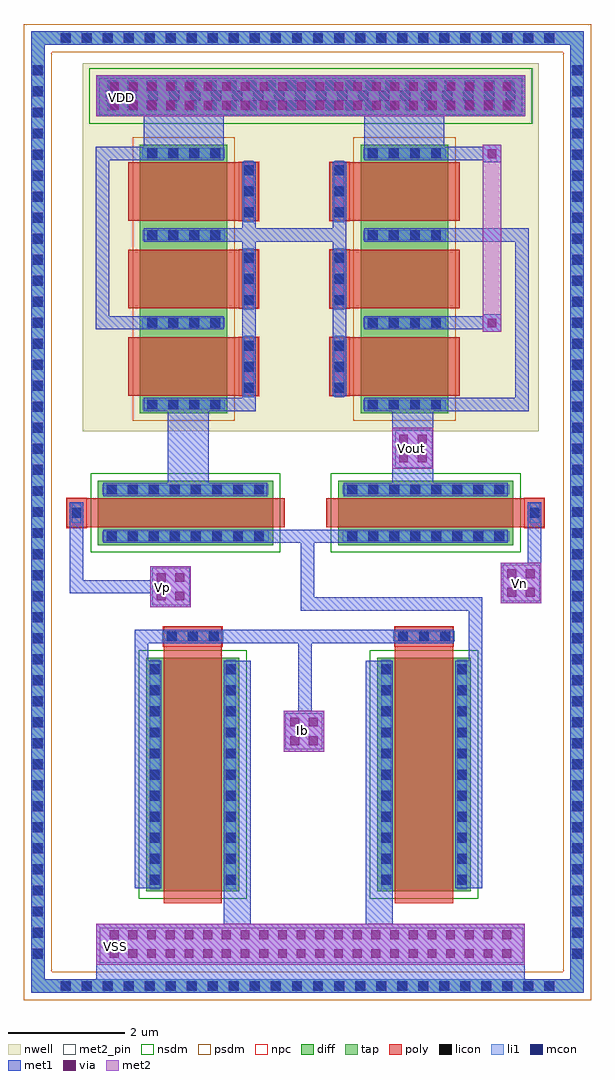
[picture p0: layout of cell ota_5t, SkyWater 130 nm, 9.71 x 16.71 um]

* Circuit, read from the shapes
.subckt ota_5t Ib VDD VSS Vn Vout Vp
XM1 n1 Vp n2 VSS sky130_fd_pr__nfet_01v8 w=3 l=0.5
XM2 VSS Ib Ib VSS sky130_fd_pr__nfet_01v8 w=4 l=1
XM3 Vout Vn n2 VSS sky130_fd_pr__nfet_01v8 w=3 l=0.5
XM4 n2 Ib VSS VSS sky130_fd_pr__nfet_01v8 w=4 l=1
XM5 VDD n1 n1 n3 sky130_fd_pr__pfet_01v8 w=1.5 l=1 m=3
XM6 VDD n1 Vout n3 sky130_fd_pr__pfet_01v8 w=1.5 l=1 m=3
.ends

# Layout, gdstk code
from math import pi, radians
import gdstk
lib = gdstk.Library(unit=1e-6, precision=1e-09)
def R(c, l, rs):  # rectangles x0, y0, x1, y1
    for r in rs: c.add(gdstk.rectangle(r[:2], r[2:], *l))
def A(c, l, x, y, w, h, nx, ny, dx, dy):  # array of equal rectangles
    R(c, l, [(x+i*dx, y+j*dy, x+i*dx+w, y+j*dy+h) for i in range(nx) for j in range(ny)])
def P(c, l, *ps):  # polygons
    for p in ps: c.add(gdstk.Polygon(p, *l))
nwell = (64, 20)
diff = (65, 20)
tap = (65, 44)
poly = (66, 20)
licon = (66, 44)
li1 = (67, 20)
mcon = (67, 44)
met1 = (68, 20)
via = (68, 44)
met2_pin = (69, 16)
met2 = (69, 20)
nsdm = (93, 44)
psdm = (94, 20)
npc = (95, 20)

nfet_2 = lib.new_cell('nfet$2')
R(nfet_2, diff, [(0,0,1.6,4)])
R(nfet_2, poly, [(0.3,-0.2,1.3,4.2), (0.3,4.2,1.3,4.53)])
A(nfet_2, licon, 0.065, 0.115, 0.17, 0.17, 1, 11, 0, 0.36)
A(nfet_2, licon, 1.365, 0.115, 0.17, 0.17, 1, 11, 0, 0.36)
A(nfet_2, licon, 0.355, 4.28, 0.17, 0.17, 3, 1, 0.36, 0)
R(nfet_2, li1, [(0.065,0.035,0.235,3.965), (1.365,0.035,1.535,3.965), (0.275,4.28,1.325,4.45)])
A(nfet_2, mcon, 0.065, 0.115, 0.17, 0.17, 1, 11, 0, 0.36)
A(nfet_2, mcon, 1.365, 0.115, 0.17, 0.17, 1, 11, 0, 0.36)
A(nfet_2, mcon, 0.355, 4.28, 0.17, 0.17, 3, 1, 0.36, 0)
R(nfet_2, met1, [(0.035,0.055,0.265,3.945), (1.335,0.055,1.565,3.945), (0.295,4.25,1.305,4.48)])
R(nfet_2, nsdm, [(-0.125,-0.125,1.725,4.125)])
R(nfet_2, npc, [(0.29,4.19,1.31,4.54)])

pfet_2 = lib.new_cell('pfet$2')
R(pfet_2, nwell, [(-0.305,-0.72,4.905,1.88)])
R(pfet_2, diff, [(0,0,4.6,1.5)])
A(pfet_2, poly, 0.3, -0.53, 1, 0.33, 3, 1, 1.5, 0)
A(pfet_2, poly, 0.3, -0.2, 1, 1.9, 3, 1, 1.5, 0)
A(pfet_2, licon, 0.355, -0.45, 0.17, 0.17, 3, 1, 0.36, 0)
A(pfet_2, licon, 1.855, -0.45, 0.17, 0.17, 3, 1, 0.36, 0)
A(pfet_2, licon, 3.355, -0.45, 0.17, 0.17, 3, 1, 0.36, 0)
A(pfet_2, licon, 0.065, 0.125, 0.17, 0.17, 1, 4, 0, 0.36)
A(pfet_2, licon, 1.465, 0.125, 0.17, 0.17, 1, 4, 0, 0.36)
A(pfet_2, licon, 2.965, 0.125, 0.17, 0.17, 1, 4, 0, 0.36)
A(pfet_2, licon, 4.365, 0.125, 0.17, 0.17, 1, 4, 0, 0.36)
A(pfet_2, li1, 0.275, -0.45, 1.05, 0.17, 3, 1, 1.5, 0)
R(pfet_2, li1, [(0.065,0.045,0.235,1.455), (1.465,0.045,1.635,1.455), (2.965,0.045,3.135,1.455), (4.365,0.045,4.535,1.455)])
A(pfet_2, mcon, 0.355, -0.45, 0.17, 0.17, 3, 1, 0.36, 0)
A(pfet_2, mcon, 1.855, -0.45, 0.17, 0.17, 3, 1, 0.36, 0)
A(pfet_2, mcon, 3.355, -0.45, 0.17, 0.17, 3, 1, 0.36, 0)
A(pfet_2, mcon, 0.065, 0.125, 0.17, 0.17, 1, 4, 0, 0.36)
A(pfet_2, mcon, 1.465, 0.125, 0.17, 0.17, 1, 4, 0, 0.36)
A(pfet_2, mcon, 2.965, 0.125, 0.17, 0.17, 1, 4, 0, 0.36)
A(pfet_2, mcon, 4.365, 0.125, 0.17, 0.17, 1, 4, 0, 0.36)
A(pfet_2, met1, 0.295, -0.48, 1.01, 0.23, 3, 1, 1.5, 0)
R(pfet_2, met1, [(0.035,0.065,0.265,1.435), (1.435,0.065,1.665,1.435), (2.935,0.065,3.165,1.435), (4.335,0.065,4.565,1.435)])
R(pfet_2, psdm, [(-0.125,-0.125,4.725,1.625)])
A(pfet_2, npc, 0.29, -0.54, 1.02, 0.35, 3, 1, 1.5, 0)

vias_gen = lib.new_cell('vias_gen')
R(vias_gen, met1, [(0,0,0.32,0.3)])
R(vias_gen, via, [(0.085,0.075,0.235,0.225)])
R(vias_gen, met2, [(0,0,0.32,0.3)])

vias_gen_7 = lib.new_cell('vias_gen$7')
R(vias_gen_7, diff, [(0,0,7.34,0.7)])
A(vias_gen_7, licon, 0.185, 0.095, 0.17, 0.17, 21, 2, 0.34, 0.34)
R(vias_gen_7, li1, [(0,0,7.34,0.7)])
A(vias_gen_7, mcon, 0.165, 0.265, 0.17, 0.17, 20, 1, 0.36, 0)
R(vias_gen_7, met1, [(0,0,7.34,0.7)])
A(vias_gen_7, via, 0.235, 0.115, 0.15, 0.15, 22, 2, 0.32, 0.32)
R(vias_gen_7, met2, [(0,0,7.34,0.7)])
R(vias_gen_7, nsdm, [(-0.125,-0.125,7.465,0.825)])

vias_gen_4 = lib.new_cell('vias_gen$4')
R(vias_gen_4, met1, [(0,0,0.7,0.7)])
R(vias_gen_4, via, [(0.115,0.115,0.265,0.265), (0.435,0.115,0.585,0.265), (0.115,0.435,0.265,0.585), (0.435,0.435,0.585,0.585)])
R(vias_gen_4, met2, [(0,0,0.7,0.7)])

vias_gen_8 = lib.new_cell('vias_gen$8')
R(vias_gen_8, met1, [(0,0,7.34,0.7)])
A(vias_gen_8, via, 0.235, 0.115, 0.15, 0.15, 22, 2, 0.32, 0.32)
R(vias_gen_8, met2, [(0,0,7.34,0.7)])

nfet = lib.new_cell('nfet')
R(nfet, diff, [(0,0,1.1,3)])
R(nfet, poly, [(0.3,-0.2,0.8,3.2), (0.3,3.2,0.8,3.53)])
A(nfet, licon, 0.065, 0.155, 0.17, 0.17, 1, 8, 0, 0.36)
A(nfet, licon, 0.865, 0.155, 0.17, 0.17, 1, 8, 0, 0.36)
R(nfet, licon, [(0.465,3.28,0.635,3.45)])
R(nfet, li1, [(0.065,0.075,0.235,2.925), (0.865,0.075,1.035,2.925), (0.385,3.28,0.715,3.45)])
A(nfet, mcon, 0.065, 0.155, 0.17, 0.17, 1, 8, 0, 0.36)
A(nfet, mcon, 0.865, 0.155, 0.17, 0.17, 1, 8, 0, 0.36)
R(nfet, mcon, [(0.465,3.28,0.635,3.45)])
R(nfet, met1, [(0.035,0.095,0.265,2.905), (0.835,0.095,1.065,2.905), (0.365,3.25,0.735,3.48)])
R(nfet, nsdm, [(-0.125,-0.125,1.225,3.125)])
R(nfet, npc, [(0.29,3.19,0.81,3.54)])

guard_ring_gen_1 = lib.new_cell('guard_ring_gen$1')
P(guard_ring_gen_1, tap, [(-0.23,-0.23),(-0.23,16),(0,16),(0,0),(9,0),(9,16),(-0.23,16),(-0.23,16.23),(9.23,16.23),(9.23,-0.23)])
A(guard_ring_gen_1, licon, 0.275, -0.2, 0.17, 0.17, 24, 2, 0.36, 16.23)
A(guard_ring_gen_1, licon, -0.2, 0.355, 0.17, 0.17, 1, 43, 0, 0.36)
A(guard_ring_gen_1, licon, 9.03, 0.355, 0.17, 0.17, 1, 43, 0, 0.36)
P(guard_ring_gen_1, li1, [(-0.23,-0.23),(-0.23,16),(0,16),(0,0),(9,0),(9,16),(-0.23,16),(-0.23,16.23),(9.23,16.23),(9.23,-0.23)])
A(guard_ring_gen_1, mcon, 0.275, -0.2, 0.17, 0.17, 24, 2, 0.36, 16.23)
A(guard_ring_gen_1, mcon, -0.2, 0.355, 0.17, 0.17, 1, 43, 0, 0.36)
A(guard_ring_gen_1, mcon, 9.03, 0.355, 0.17, 0.17, 1, 43, 0, 0.36)
P(guard_ring_gen_1, met1, [(-0.23,-0.23),(-0.23,16),(0,16),(0,0),(9,0),(9,16),(-0.23,16),(-0.23,16.23),(9.23,16.23),(9.23,-0.23)])
P(guard_ring_gen_1, psdm, [(-0.355,-0.355),(-0.355,15.875),(0.125,15.875),(0.125,0.125),(8.875,0.125),(8.875,15.875),(-0.355,15.875),(-0.355,16.355),(9.355,16.355),(9.355,-0.355)])

ota_5t = lib.new_cell('ota_5t')
R(ota_5t, nwell, [(12.35,13.75,20.15,20.05), (12.455,13.75,20.045,19.965), (12.945,13.75,20.045,19.965), (15.545,13.75,16.385,18.96)])
R(ota_5t, met1, [(12.575,4.365,19.915,4.615), (14.765,5.315,15.225,9.815), (17.195,5.315,17.655,9.815), (19.97,11.5,20.2,12.165), (13.805,12.865,14.505,14.09), (17.65,12.865,18.35,13.105), (17.65,13.805,18.35,14.09), (15.075,15.36,15.305,15.85), (16.625,15.36,16.855,15.85), (18.54,15.49,19.195,15.72), (18.54,18.39,19.195,18.62), (13.39,18.62,14.76,19.79), (17.17,18.62,18.54,19.79)])
P(ota_5t, met1, [(18.725,5.925),(18.725,9.815),(18.955,9.815),(18.955,10.675),(16.08,10.675),(16.08,11.835),(15.51,11.835),(15.51,12.065),(16.815,12.065),(16.815,11.835),(16.31,11.835),(16.31,10.905),(19.185,10.905),(19.185,5.925)],
  [(12.125,10.97),(12.125,12.315),(12.355,12.315),(12.355,11.2),(13.5,11.2),(13.5,10.97)],
  [(13.235,5.925),(13.235,10.35),(18.695,10.35),(18.695,10.12),(16.265,10.12),(16.265,8.78),(16.035,8.78),(16.035,10.12),(13.465,10.12),(13.465,5.925)],
  [(18.54,14.09),(18.54,14.32),(19.75,14.32),(19.75,16.99),(18.54,16.99),(18.54,17.22),(19.98,17.22),(19.98,14.09)],
  [(12.57,15.49),(12.57,18.62),(13.39,18.62),(13.39,18.39),(12.8,18.39),(12.8,15.72),(13.39,15.72),(13.39,15.49)],
  [(14.76,14.09),(14.76,14.32),(15.075,14.32),(15.075,14.35),(15.305,14.35),(15.305,14.09)],
  [(15.075,16.86),(15.075,16.99),(14.76,16.99),(14.76,17.22),(15.075,17.22),(15.075,17.35),(15.305,17.35),(15.305,17.22),(16.625,17.22),(16.625,17.35),(16.855,17.35),(16.855,16.86),(16.625,16.86),(16.625,16.99),(15.305,16.99),(15.305,16.86)])
R(ota_5t, met2_pin, [(12.635,4.65,19.885,5.25), (15.815,8.305,16.45,8.92), (13.535,10.765,14.18,11.41), (19.54,10.835,20.17,11.465), (17.695,13.125,18.335,13.77), (12.63,19.17,19.87,19.79)])
R(ota_5t, met2, [(19.195,15.75,19.515,18.35)])
ota_5t.add(gdstk.Reference(nfet_2, (17.39,5.87)))
ota_5t.add(gdstk.Reference(pfet_2, (17.105,18.655), rotation=3*pi/2))
ota_5t.add(gdstk.Reference(pfet_2, (14.825,14.055), rotation=pi/2))
ota_5t.add(gdstk.Reference(vias_gen, (19.195,15.45)))
ota_5t.add(gdstk.Reference(vias_gen_7, (12.58,19.14)))
ota_5t.add(gdstk.Reference(vias_gen_4, (20.2,10.8), rotation=pi, x_reflection=True))
ota_5t.add(gdstk.Reference(vias_gen_8, (12.575,4.615)))
ota_5t.add(gdstk.Reference(vias_gen_4, (15.785,8.26)))
ota_5t.add(gdstk.Reference(vias_gen_4, (18.35,13.105), rotation=pi, x_reflection=True))
ota_5t.add(gdstk.Reference(nfet_2, (13.43,5.87)))
ota_5t.add(gdstk.Reference(vias_gen, (19.195,18.35)))
ota_5t.add(gdstk.Reference(nfet, (16.72,12.9), rotation=3*pi/2))
ota_5t.add(gdstk.Reference(guard_ring_gen_1, (11.695,4.365)))
ota_5t.add(gdstk.Reference(vias_gen_4, (13.5,10.735)))
ota_5t.add(gdstk.Reference(nfet, (15.605,11.8), rotation=pi/2))
ota_5t.add(gdstk.Label('Vp', (13.715,11.075), layer=69, texttype=5))
ota_5t.add(gdstk.Label('Vn', (19.825,11.14), layer=69, texttype=5))
ota_5t.add(gdstk.Label('VSS', (12.91,4.92), layer=69, texttype=5))
ota_5t.add(gdstk.Label('VDD', (13.01,19.47), layer=69, texttype=5))
ota_5t.add(gdstk.Label('Vout', (17.975,13.445), layer=69, texttype=5))
ota_5t.add(gdstk.Label('Ib', (16.105,8.62), layer=69, texttype=5))

lib.write_gds('ota_5t.gds')
